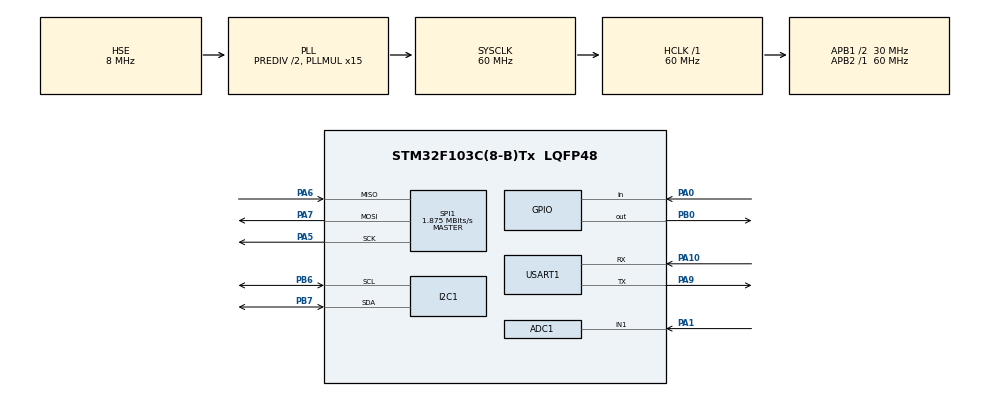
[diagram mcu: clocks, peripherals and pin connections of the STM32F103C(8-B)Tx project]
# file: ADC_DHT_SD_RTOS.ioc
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ADC1.Channel-0\#ChannelRegularConversion=ADC_CHANNEL_1
ADC1.ContinuousConvMode=ENABLE
ADC1.NbrOfConversionFlag=1
ADC1.Rank-0\#ChannelRegularConversion=1
ADC1.SamplingTime-0\#ChannelRegularConversion=ADC_SAMPLETIME_1CYCLE_5
ADC1.master=1
FATFS._MAX_SS=512
FREERTOS.Tasks01=defaultTask,0,128,StartDefaultTask,Default,NULL,Dynamic,NULL,NULL
Mcu.Family=STM32F1
Mcu.Name=STM32F103C(8-B)Tx
Mcu.Package=LQFP48
NVIC.PriorityGroup=NVIC_PRIORITYGROUP_4
NVIC.TIM1_UP_IRQn=true\:5\:0\:false\:false\:true\:true\:true\:true\:true
NVIC.TIM2_IRQn=true\:0\:0\:false\:false\:true\:false\:false\:true\:true
NVIC.TimeBase=TIM2_IRQn
NVIC.TimeBaseIP=TIM2
PA0-WKUP.Signal=GPIO_Input
PA1.Signal=ADCx_IN1
PA10.Mode=Asynchronous
PA10.Signal=USART1_RX
PA13.Mode=Serial_Wire
PA13.Signal=SYS_JTMS-SWDIO
PA14.Mode=Serial_Wire
PA14.Signal=SYS_JTCK-SWCLK
PA5.Mode=Full_Duplex_Master
PA5.Signal=SPI1_SCK
PA6.Mode=Full_Duplex_Master
PA6.Signal=SPI1_MISO
PA7.Mode=Full_Duplex_Master
PA7.Signal=SPI1_MOSI
PA9.Mode=Asynchronous
PA9.Signal=USART1_TX
PB0.Signal=GPIO_Output
PB6.Mode=I2C
PB6.Signal=I2C1_SCL
PB7.Mode=I2C
PB7.Signal=I2C1_SDA
PD0-OSC_IN.Mode=HSE-External-Oscillator
PD0-OSC_IN.Signal=RCC_OSC_IN
PD1-OSC_OUT.Mode=HSE-External-Oscillator
PD1-OSC_OUT.Signal=RCC_OSC_OUT
ProjectManager.HeapSize=0x200
ProjectManager.StackSize=0x400
ProjectManager.TargetToolchain=STM32CubeIDE
RCC.ADCPresc=RCC_ADCPCLK2_DIV6
RCC.AHBFreq_Value=60000000
RCC.APB1CLKDivider=RCC_HCLK_DIV2
RCC.APB1Freq_Value=30000000
RCC.APB1TimFreq_Value=60000000
RCC.APB2Freq_Value=60000000
RCC.APB2TimFreq_Value=60000000
RCC.HCLKFreq_Value=60000000
RCC.HSEDivPLL=RCC_HSE_PREDIV_DIV2
RCC.PLLMUL=RCC_PLL_MUL15
RCC.PLLSourceVirtual=RCC_PLLSOURCE_HSE
RCC.SYSCLKFreq_VALUE=60000000
RCC.SYSCLKSource=RCC_SYSCLKSOURCE_PLLCLK
RCC.USBFreq_Value=60000000
SH.ADCx_IN1.0=ADC1_IN1,IN1
SPI1.BaudRatePrescaler=SPI_BAUDRATEPRESCALER_32
SPI1.CalculateBaudRate=1.875 MBits/s
SPI1.Direction=SPI_DIRECTION_2LINES
SPI1.Mode=SPI_MODE_MASTER
SPI1.VirtualType=VM_MASTER
TIM1.Period=2000-1
TIM1.Prescaler=60000-1
TIM1.TIM_MasterOutputTrigger=TIM_TRGO_UPDATE
TIM3.Period=0xffff-1
TIM3.Prescaler=60-1
USART1.VirtualMode=VM_ASYNC
VP_FATFS_VS_Generic.Mode=User_defined
VP_FREERTOS_VS_CMSIS_V1.Mode=CMSIS_V1
VP_SYS_VS_tim2.Mode=TIM2
VP_TIM1_VS_ClockSourceINT.Mode=Internal
VP_TIM3_VS_ClockSourceINT.Mode=Internal
board=custom

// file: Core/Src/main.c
/* USER CODE BEGIN Header */
/**
  ******************************************************************************
  * @file           : main.c
  * @brief          : Main program body
  ******************************************************************************
  * @attention
  *
  * <h2><center>&copy; Copyright (c) 2020 STMicroelectronics.
  * All rights reserved.</center></h2>
  *
  * This software component is licensed by ST under BSD 3-Clause license,
  * the "License"; You may not use this file except in compliance with the
  * License. You may obtain a copy of the License at:
  *                        opensource.org/licenses/BSD-3-Clause
  *
  ******************************************************************************
  */
/* USER CODE END Header */

#include "main.h"
#include "cmsis_os.h"
#include "fatfs.h"

/* USER CODE BEGIN Includes */

#include "FreeRTOS.h"
#include "task.h"
#include "timers.h"
#include "queue.h"
#include "semphr.h"
#include "event_groups.h"

#include "DHT11.h"
#include "File_Handling_RTOS.h"
#include "liquidcrystal_i2c.h"

/* USER CODE END Includes */

ADC_HandleTypeDef hadc1;

I2C_HandleTypeDef hi2c1;

SPI_HandleTypeDef hspi1;

TIM_HandleTypeDef htim1;
TIM_HandleTypeDef htim3;

UART_HandleTypeDef huart1;

osThreadId defaultTaskHandle;

void SystemClock_Config(void);
static void MX_GPIO_Init(void);
static void MX_ADC1_Init(void);
static void MX_SPI1_Init(void);
static void MX_TIM1_Init(void);
static void MX_TIM3_Init(void);
static void MX_USART1_UART_Init(void);
static void MX_I2C1_Init(void);
void StartDefaultTask(void const * argument);

/* USER CODE BEGIN 0 */
uint8_t escribir = 0,error = 0,programado = 0;

xTaskHandle SDCARD_Task_Hnadler;

void SDCARD_Task (void *argument)
{
	while (1)
	{
		if(escribir)
		{
			char *buffer = pvPortMalloc(50*sizeof(char));
			sprintf (buffer, "Proceso OK - HORA");
			Mount_SD("");
			Update_File("Procesos.txt", buffer);
			vPortFree(buffer);
			Unmount_SD("");
			escribir = 0;
		}

		if(error)
		{
			char *buffer = pvPortMalloc(50*sizeof(char));
			sprintf (buffer, "111");  // Acá habría que escribirle la combinación que corresponda según qué esté fallando
			Mount_SD("");
			Write_File("Sensores.txt", buffer);
			vPortFree(buffer);
			Unmount_SD("");
		}

		if(programado)
		{
			char *buffer = pvPortMalloc(50*sizeof(char));
			sprintf (buffer, "1 HORA");
			Mount_SD("");
			Update_File("Programado.txt", buffer);
			vPortFree(buffer);
			Unmount_SD("");
			programado = 0;
		}

		vTaskDelay(1000);  // ?
	}

	vTaskDelete(NULL);
}

/* USER CODE END 0 */

int main(void)
{
  /* USER CODE BEGIN 1 */
  char *estado_sensores;
  uint8_t error_sensor1,error_sensor2,error_anafe;
  /* USER CODE END 1 */

  /* MCU Configuration--------------------------------------------------------*/

  /* Reset of all peripherals, Initializes the Flash interface and the Systick. */
  HAL_Init();

  /* Configure the system clock */
  SystemClock_Config();

  /* USER CODE BEGIN SysInit */
  HD44780_Init(2);
  HD44780_SetBacklight(100);
  /* USER CODE END SysInit */

  /* Initialize all configured peripherals */
  MX_GPIO_Init();
  MX_ADC1_Init();
  MX_SPI1_Init();
  MX_TIM1_Init();
  MX_TIM3_Init();
  MX_USART1_UART_Init();
  MX_FATFS_Init();
  MX_I2C1_Init();
  /* USER CODE BEGIN 2 */

  estado_sensores = pvPortMalloc(5*sizeof(uint8_t));

  Mount_SD("");
  //Format_SD();
  Read_File("Sensores.txt",estado_sensores);
  // LÓGICA DE CHEQUEO DE SENSORES
  if(estado_sensores[0]!=49) error_sensor1 = 1;
  if(estado_sensores[1]!=49) error_sensor2 = 1;
  if(estado_sensores[2]!=49) error_anafe = 1;
  // En función a esto, arranca o no arranca la máquina de estados principal
  Create_File("Probando.txt");
  Write_File("Probando.txt","LECHE FRESCA");
  Unmount_SD("");

  vPortFree(estado_sensores);

  xTaskCreate(SDCARD_Task, "SD", 128, NULL, 3, &SDCARD_Task_Hnadler);

  vTaskStartScheduler();

  /* USER CODE END 2 */

  /* Create the thread(s) */
  /* definition and creation of defaultTask */
  osThreadDef(defaultTask, StartDefaultTask, osPriorityNormal, 0, 128);
  defaultTaskHandle = osThreadCreate(osThread(defaultTask), NULL);

  /* Start scheduler */
  osKernelStart();

  /* We should never get here as control is now taken by the scheduler */
  /* Infinite loop */
  while (1)
  {

  }
}

void SystemClock_Config(void)
{
  RCC_OscInitTypeDef RCC_OscInitStruct = {0};
  RCC_ClkInitTypeDef RCC_ClkInitStruct = {0};
  RCC_PeriphCLKInitTypeDef PeriphClkInit = {0};

  /** Initializes the CPU, AHB and APB busses clocks
  */
  RCC_OscInitStruct.OscillatorType = RCC_OSCILLATORTYPE_HSE;
  RCC_OscInitStruct.HSEState = RCC_HSE_ON;
  RCC_OscInitStruct.HSEPredivValue = RCC_HSE_PREDIV_DIV2;
  RCC_OscInitStruct.HSIState = RCC_HSI_ON;
  RCC_OscInitStruct.PLL.PLLState = RCC_PLL_ON;
  RCC_OscInitStruct.PLL.PLLSource = RCC_PLLSOURCE_HSE;
  RCC_OscInitStruct.PLL.PLLMUL = RCC_PLL_MUL15;
  if (HAL_RCC_OscConfig(&RCC_OscInitStruct) != HAL_OK)
  {
    Error_Handler();
  }
  /** Initializes the CPU, AHB and APB busses clocks
  */
  RCC_ClkInitStruct.ClockType = RCC_CLOCKTYPE_HCLK|RCC_CLOCKTYPE_SYSCLK
                              |RCC_CLOCKTYPE_PCLK1|RCC_CLOCKTYPE_PCLK2;
  RCC_ClkInitStruct.SYSCLKSource = RCC_SYSCLKSOURCE_PLLCLK;
  RCC_ClkInitStruct.AHBCLKDivider = RCC_SYSCLK_DIV1;
  RCC_ClkInitStruct.APB1CLKDivider = RCC_HCLK_DIV2;
  RCC_ClkInitStruct.APB2CLKDivider = RCC_HCLK_DIV1;

  if (HAL_RCC_ClockConfig(&RCC_ClkInitStruct, FLASH_LATENCY_2) != HAL_OK)
  {
    Error_Handler();
  }
  PeriphClkInit.PeriphClockSelection = RCC_PERIPHCLK_ADC;
  PeriphClkInit.AdcClockSelection = RCC_ADCPCLK2_DIV6;
  if (HAL_RCCEx_PeriphCLKConfig(&PeriphClkInit) != HAL_OK)
  {
    Error_Handler();
  }
}

static void MX_ADC1_Init(void)
{

  ADC_ChannelConfTypeDef sConfig = {0};

  /** Common config
  */
  hadc1.Instance = ADC1;
  hadc1.Init.ScanConvMode = ADC_SCAN_DISABLE;
  hadc1.Init.ContinuousConvMode = ENABLE;
  hadc1.Init.DiscontinuousConvMode = DISABLE;
  hadc1.Init.ExternalTrigConv = ADC_SOFTWARE_START;
  hadc1.Init.DataAlign = ADC_DATAALIGN_RIGHT;
  hadc1.Init.NbrOfConversion = 1;
  if (HAL_ADC_Init(&hadc1) != HAL_OK)
  {
    Error_Handler();
  }
  /** Configure Regular Channel
  */
  sConfig.Channel = ADC_CHANNEL_1;
  sConfig.Rank = ADC_REGULAR_RANK_1;
  sConfig.SamplingTime = ADC_SAMPLETIME_1CYCLE_5;
  if (HAL_ADC_ConfigChannel(&hadc1, &sConfig) != HAL_OK)
  {
    Error_Handler();
  }

}

static void MX_I2C1_Init(void)
{

  hi2c1.Instance = I2C1;
  hi2c1.Init.ClockSpeed = 100000;
  hi2c1.Init.DutyCycle = I2C_DUTYCYCLE_2;
  hi2c1.Init.OwnAddress1 = 0;
  hi2c1.Init.AddressingMode = I2C_ADDRESSINGMODE_7BIT;
  hi2c1.Init.DualAddressMode = I2C_DUALADDRESS_DISABLE;
  hi2c1.Init.OwnAddress2 = 0;
  hi2c1.Init.GeneralCallMode = I2C_GENERALCALL_DISABLE;
  hi2c1.Init.NoStretchMode = I2C_NOSTRETCH_DISABLE;
  if (HAL_I2C_Init(&hi2c1) != HAL_OK)
  {
    Error_Handler();
  }

}

static void MX_SPI1_Init(void)
{

  /* SPI1 parameter configuration*/
  hspi1.Instance = SPI1;
  hspi1.Init.Mode = SPI_MODE_MASTER;
  hspi1.Init.Direction = SPI_DIRECTION_2LINES;
  hspi1.Init.DataSize = SPI_DATASIZE_8BIT;
  hspi1.Init.CLKPolarity = SPI_POLARITY_LOW;
  hspi1.Init.CLKPhase = SPI_PHASE_1EDGE;
  hspi1.Init.NSS = SPI_NSS_SOFT;
  hspi1.Init.BaudRatePrescaler = SPI_BAUDRATEPRESCALER_32;
  hspi1.Init.FirstBit = SPI_FIRSTBIT_MSB;
  hspi1.Init.TIMode = SPI_TIMODE_DISABLE;
  hspi1.Init.CRCCalculation = SPI_CRCCALCULATION_DISABLE;
  hspi1.Init.CRCPolynomial = 10;
  if (HAL_SPI_Init(&hspi1) != HAL_OK)
  {
    Error_Handler();
  }

}

static void MX_TIM1_Init(void)
{

  TIM_ClockConfigTypeDef sClockSourceConfig = {0};
  TIM_MasterConfigTypeDef sMasterConfig = {0};

  htim1.Instance = TIM1;
  htim1.Init.Prescaler = 60000-1;
  htim1.Init.CounterMode = TIM_COUNTERMODE_UP;
  htim1.Init.Period = 2000-1;
  htim1.Init.ClockDivision = TIM_CLOCKDIVISION_DIV1;
  htim1.Init.RepetitionCounter = 0;
  htim1.Init.AutoReloadPreload = TIM_AUTORELOAD_PRELOAD_DISABLE;
  if (HAL_TIM_Base_Init(&htim1) != HAL_OK)
  {
    Error_Handler();
  }
  sClockSourceConfig.ClockSource = TIM_CLOCKSOURCE_INTERNAL;
  if (HAL_TIM_ConfigClockSource(&htim1, &sClockSourceConfig) != HAL_OK)
  {
    Error_Handler();
  }
  sMasterConfig.MasterOutputTrigger = TIM_TRGO_UPDATE;
  sMasterConfig.MasterSlaveMode = TIM_MASTERSLAVEMODE_DISABLE;
  if (HAL_TIMEx_MasterConfigSynchronization(&htim1, &sMasterConfig) != HAL_OK)
  {
    Error_Handler();
  }

}

static void MX_TIM3_Init(void)
{

  TIM_ClockConfigTypeDef sClockSourceConfig = {0};
  TIM_MasterConfigTypeDef sMasterConfig = {0};

  htim3.Instance = TIM3;
  htim3.Init.Prescaler = 60-1;
  htim3.Init.CounterMode = TIM_COUNTERMODE_UP;
  htim3.Init.Period = 0xffff-1;
  htim3.Init.ClockDivision = TIM_CLOCKDIVISION_DIV1;
  htim3.Init.AutoReloadPreload = TIM_AUTORELOAD_PRELOAD_DISABLE;
  if (HAL_TIM_Base_Init(&htim3) != HAL_OK)
  {
    Error_Handler();
  }
  sClockSourceConfig.ClockSource = TIM_CLOCKSOURCE_INTERNAL;
  if (HAL_TIM_ConfigClockSource(&htim3, &sClockSourceConfig) != HAL_OK)
  {
    Error_Handler();
  }
  sMasterConfig.MasterOutputTrigger = TIM_TRGO_RESET;
  sMasterConfig.MasterSlaveMode = TIM_MASTERSLAVEMODE_DISABLE;
  if (HAL_TIMEx_MasterConfigSynchronization(&htim3, &sMasterConfig) != HAL_OK)
  {
    Error_Handler();
  }

}

static void MX_USART1_UART_Init(void)
{

  huart1.Instance = USART1;
  huart1.Init.BaudRate = 115200;
  huart1.Init.WordLength = UART_WORDLENGTH_8B;
  huart1.Init.StopBits = UART_STOPBITS_1;
  huart1.Init.Parity = UART_PARITY_NONE;
  huart1.Init.Mode = UART_MODE_TX_RX;
  huart1.Init.HwFlowCtl = UART_HWCONTROL_NONE;
  huart1.Init.OverSampling = UART_OVERSAMPLING_16;
  if (HAL_UART_Init(&huart1) != HAL_OK)
  {
    Error_Handler();
  }

}

static void MX_GPIO_Init(void)
{
  GPIO_InitTypeDef GPIO_InitStruct = {0};

  /* GPIO Ports Clock Enable */
  __HAL_RCC_GPIOD_CLK_ENABLE();
  __HAL_RCC_GPIOA_CLK_ENABLE();
  __HAL_RCC_GPIOB_CLK_ENABLE();

  /*Configure GPIO pin Output Level */
  HAL_GPIO_WritePin(GPIOB, GPIO_PIN_0, GPIO_PIN_RESET);

  /*Configure GPIO pin : PA0 */
  GPIO_InitStruct.Pin = GPIO_PIN_0;
  GPIO_InitStruct.Mode = GPIO_MODE_INPUT;
  GPIO_InitStruct.Pull = GPIO_NOPULL;
  HAL_GPIO_Init(GPIOA, &GPIO_InitStruct);

  /*Configure GPIO pin : PB0 */
  GPIO_InitStruct.Pin = GPIO_PIN_0;
  GPIO_InitStruct.Mode = GPIO_MODE_OUTPUT_PP;
  GPIO_InitStruct.Pull = GPIO_NOPULL;
  GPIO_InitStruct.Speed = GPIO_SPEED_FREQ_LOW;
  HAL_GPIO_Init(GPIOB, &GPIO_InitStruct);

}

void StartDefaultTask(void const * argument)
{
  for(;;)
  {
    osDelay(1);
  }
}

 /**
  * @brief  Period elapsed callback in non blocking mode
  * @note   This function is called  when TIM2 interrupt took place, inside
  * HAL_TIM_IRQHandler(). It makes a direct call to HAL_IncTick() to increment
  * a global variable "uwTick" used as application time base.
  * @param  htim : TIM handle
  * @retval None
  */
void HAL_TIM_PeriodElapsedCallback(TIM_HandleTypeDef *htim)
{
  /* USER CODE BEGIN Callback 0 */

	if (htim->Instance == TIM1)
	{
		// release the semaphore here
		 /* The xHigherPriorityTaskWoken parameter must be initialized to pdFALSE as
		 it will get set to pdTRUE inside the interrupt safe API function if a
		 context switch is required. */
		BaseType_t xHigherPriorityTaskWoken = pdFALSE;

		/* Pass the xHigherPriorityTaskWoken value into portEND_SWITCHING_ISR(). If
		 xHigherPriorityTaskWoken was set to pdTRUE inside xSemaphoreGiveFromISR()
		 then calling portEND_SWITCHING_ISR() will request a context switch. If
		 xHigherPriorityTaskWoken is still pdFALSE then calling
		 portEND_SWITCHING_ISR() will have no effect */

		portEND_SWITCHING_ISR( xHigherPriorityTaskWoken );
	}

  /* USER CODE END Callback 0 */
  if (htim->Instance == TIM2) {
    HAL_IncTick();
  }
}

void Error_Handler(void)
{
}

/************************ (C) COPYRIGHT STMicroelectronics *****END OF FILE****/
